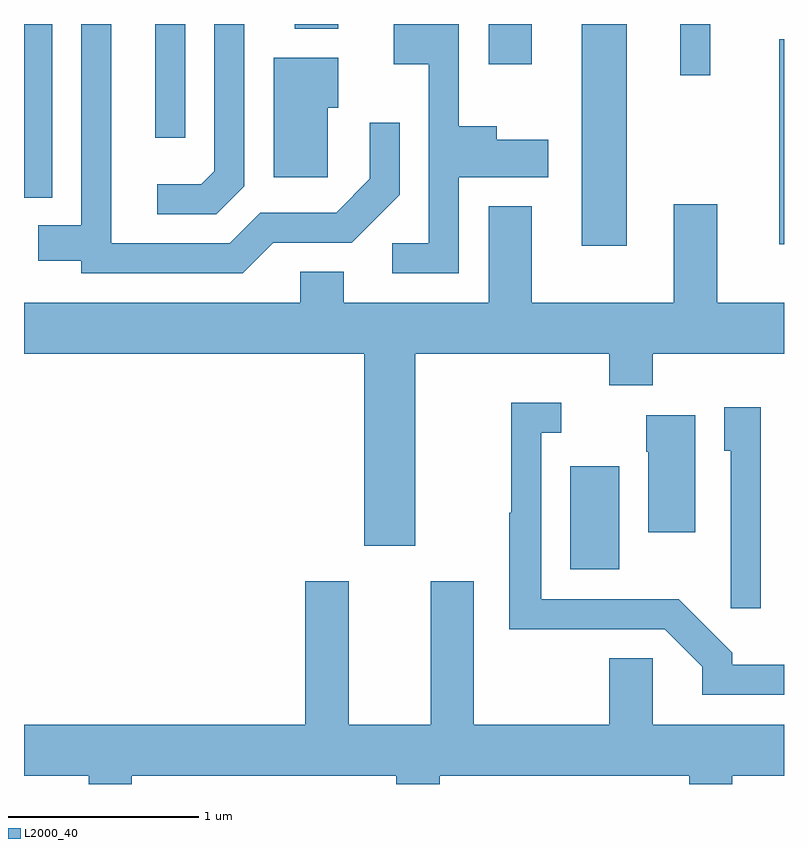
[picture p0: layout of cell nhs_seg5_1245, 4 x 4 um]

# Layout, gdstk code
import gdstk
lib = gdstk.Library(unit=1e-6, precision=1e-09)
def R(c, l, rs):  # rectangles x0, y0, x1, y1
    for r in rs: c.add(gdstk.rectangle(r[:2], r[2:], *l))
def P(c, l, *ps):  # polygons
    for p in ps: c.add(gdstk.Polygon(p, *l))
L2000_40 = (2000, 40)

nhs_seg5_1245 = lib.new_cell('nhs_seg5_1245')
R(nhs_seg5_1245, L2000_40, [(224.486,1471.201,224.744,1471.744), (224.546,1472.906,224.784,1474.072), (225.586,1472.913,225.611,1473.993), (221.611,1473.158,221.759,1474.072), (222.301,1473.473,222.459,1474.072), (225.066,1473.803,225.224,1474.072), (224.056,1473.861,224.284,1474.072), (223.036,1474.046,223.264,1474.072)])
P(nhs_seg5_1245, L2000_40, [(223.899,1473.266),(224.369,1473.266),(224.369,1473.464),(224.099,1473.464),(224.099,1473.534),(223.899,1473.534),(223.899,1474.072),(223.556,1474.072),(223.556,1473.861),(223.741,1473.861),(223.741,1472.919),(223.548,1472.919),(223.548,1472.761),(223.899,1472.761)],
  [(222.922,1472.921),(223.337,1472.921),(223.589,1473.174),(223.589,1473.553),(223.431,1473.553),(223.431,1473.257),(223.254,1473.079),(222.854,1473.079),(222.694,1472.919),(222.069,1472.919),(222.069,1474.072),(221.911,1474.072),(221.911,1473.014),(221.686,1473.014),(221.686,1472.826),(221.911,1472.826),(221.911,1472.761),(222.762,1472.761)],
  [(222.769,1473.219),(222.769,1474.072),(222.611,1474.072),(222.611,1473.297),(222.544,1473.229),(222.313,1473.229),(222.313,1473.071),(222.622,1473.071)],
  [(223.209,1473.631),(223.264,1473.631),(223.264,1473.894),(222.926,1473.894),(222.926,1473.266),(223.209,1473.266)],
  [(223.669,1472.336),(224.691,1472.336),(224.691,1472.171),(224.919,1472.171),(224.919,1472.336),(225.611,1472.336),(225.611,1472.604),(225.259,1472.604),(225.259,1473.124),(225.031,1473.124),(225.031,1472.604),(224.284,1472.604),(224.284,1473.114),(224.056,1473.114),(224.056,1472.604),(223.294,1472.604),(223.294,1472.769),(223.066,1472.769),(223.066,1472.604),(221.611,1472.604),(221.611,1472.336),(223.401,1472.336),(223.401,1471.326),(223.669,1471.326)],
  [(225.611,1470.699),(225.339,1470.699),(225.339,1470.762),(225.057,1471.044),(224.334,1471.044),(224.334,1471.921),(224.438,1471.921),(224.438,1472.079),(224.176,1472.079),(224.176,1471.5),(224.166,1471.5),(224.166,1470.886),(224.984,1470.886),(225.181,1470.689),(225.181,1470.541),(225.611,1470.541)],
  [(225.489,1472.054),(225.296,1472.054),(225.296,1471.826),(225.331,1471.826),(225.331,1470.998),(225.489,1470.998)],
  [(225.144,1472.014),(224.886,1472.014),(224.886,1471.82),(224.896,1471.82),(224.896,1471.396),(225.144,1471.396)],
  [(222.179,1470.116),(223.571,1470.116),(223.571,1470.072),(223.799,1470.072),(223.799,1470.116),(225.111,1470.116),(225.111,1470.072),(225.339,1470.072),(225.339,1470.116),(225.611,1470.116),(225.611,1470.384),(224.919,1470.384),(224.919,1470.734),(224.691,1470.734),(224.691,1470.384),(223.979,1470.384),(223.979,1471.139),(223.751,1471.139),(223.751,1470.384),(223.319,1470.384),(223.319,1471.139),(223.091,1471.139),(223.091,1470.384),(221.611,1470.384),(221.611,1470.116),(221.951,1470.116),(221.951,1470.072),(222.179,1470.072)])

lib.write_gds('nhs_seg5_1245.gds')
